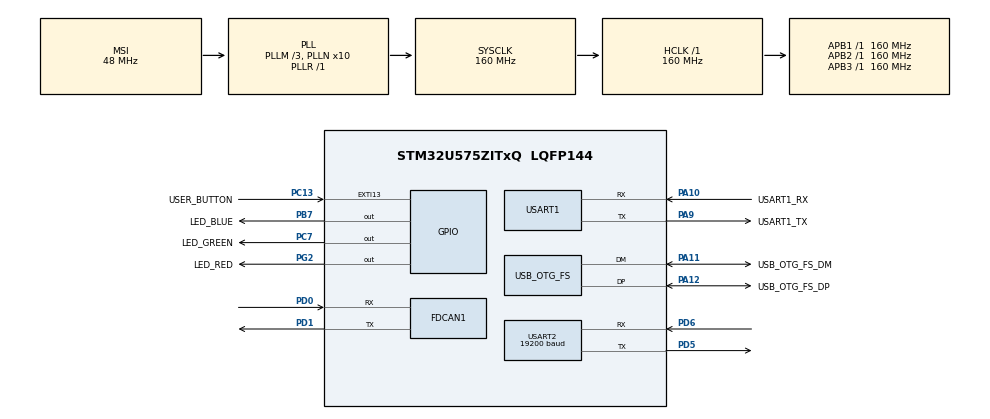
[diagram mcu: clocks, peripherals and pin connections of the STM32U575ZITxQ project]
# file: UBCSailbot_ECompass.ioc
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CORTEX_M33_NS.userName=CORTEX_M33
FDCAN1.AutoRetransmission=ENABLE
FDCAN1.CalculateBaudRateNominal=500000
FDCAN1.CalculateTimeBitNominal=2000
FDCAN1.CalculateTimeQuantumNominal=100.0
FDCAN1.DataSyncJumpWidth=16
FDCAN1.DataTimeSeg1=23
FDCAN1.DataTimeSeg2=16
FDCAN1.ExtFiltersNbr=1
FDCAN1.FrameFormat=FDCAN_FRAME_FD_BRS
FDCAN1.NominalPrescaler=4
FDCAN1.NominalSyncJumpWidth=3
FDCAN1.NominalTimeSeg1=16
FDCAN1.NominalTimeSeg2=3
FDCAN1.StdFiltersNbr=1
GPDMA1.DESTINC_GPDMACH15=DMA_DINC_INCREMENTED
GPDMA1.IPHANDLE_GPDMACH15-SIMPLEREQUEST_GPDMACH15=__NULL
GPDMA1.RECAP_GPDMACH15=GPDMA1_REQUEST_USART2_RX
GPDMA1.REQUEST_GPDMACH15=GPDMA1_REQUEST_USART2_RX
Mcu.Family=STM32U5
Mcu.Name=STM32U575ZITxQ
Mcu.Package=LQFP144
NVIC.FDCAN1_IT0_IRQn=true\:0\:0\:false\:false\:true\:true\:true\:true
NVIC.GPDMA1_Channel15_IRQn=true\:0\:0\:false\:false\:true\:false\:true\:true
NVIC.PriorityGroup=NVIC_PRIORITYGROUP_3
NVIC.TIM17_IRQn=true\:7\:0\:false\:false\:true\:false\:true\:true
NVIC.TimeBase=TIM17_IRQn
NVIC.TimeBaseIP=TIM17
NVIC.USART2_IRQn=true\:0\:0\:false\:false\:true\:true\:true\:true
PA10.GPIO_Label=USART1_RX
PA10.GPIO_PuPd=GPIO_PULLDOWN
PA10.GPIO_Speed=GPIO_SPEED_FREQ_VERY_HIGH
PA10.Mode=Asynchronous
PA10.Signal=USART1_RX
PA11.GPIO_Label=USB_OTG_FS_DM
PA11.GPIO_Speed=GPIO_SPEED_FREQ_VERY_HIGH
PA11.Mode=Device_Only
PA11.Signal=USB_OTG_FS_DM
PA12.GPIO_Label=USB_OTG_FS_DP
PA12.GPIO_Speed=GPIO_SPEED_FREQ_VERY_HIGH
PA12.Mode=Device_Only
PA12.Signal=USB_OTG_FS_DP
PA13\ (JTMS/SWDIO).Signal=DEBUG_JTMS-SWDIO
PA14\ (JTCK/SWCLK).Signal=DEBUG_JTCK-SWCLK
PA9.GPIO_Label=USART1_TX
PA9.GPIO_PuPd=GPIO_PULLDOWN
PA9.GPIO_Speed=GPIO_SPEED_FREQ_VERY_HIGH
PA9.Mode=Asynchronous
PA9.Signal=USART1_TX
PB3\ (JTDO/TRACESWO).Signal=DEBUG_JTDO-SWO
PB7.GPIO_Label=LED_BLUE
PB7.Signal=GPIO_Output
PC13.GPIO_Label=USER_BUTTON
PC13.Signal=GPXTI13
PC14-OSC32_IN\ (PC14).Signal=RCC_OSC32_IN
PC15-OSC32_OUT\ (PC15).Signal=RCC_OSC32_OUT
PC7.GPIO_Label=LED_GREEN
PC7.Signal=GPIO_Output
PD0.Mode=FDCAN_Activate
PD0.Signal=FDCAN1_RX
PD1.Mode=FDCAN_Activate
PD1.Signal=FDCAN1_TX
PD5.Mode=Asynchronous
PD5.Signal=USART2_TX
PD6.Mode=Asynchronous
PD6.Signal=USART2_RX
PG2.GPIO_Label=LED_RED
PG2.Signal=GPIO_Output
PWR.PowerMode=PWR_SMPS_SUPPLY
ProjectManager.HeapSize=0x200
ProjectManager.StackSize=0x400
ProjectManager.TargetToolchain=STM32CubeIDE
RCC.ADCFreq_Value=16000000
RCC.AHBFreq_Value=160000000
RCC.APB1Freq_Value=160000000
RCC.APB1TimFreq_Value=160000000
RCC.APB2Freq_Value=160000000
RCC.APB2TimFreq_Value=160000000
RCC.APB3Freq_Value=160000000
RCC.CortexFreq_Value=160000000
RCC.DACCLockSelectionVirtual=RCC_DAC1CLKSOURCE_LSI
RCC.EPOD_VALUE=48000000
RCC.HCLKFreq_Value=160000000
RCC.HSE_VALUE=16000000
RCC.HSI48_VALUE=48000000
RCC.HSI_VALUE=16000000
RCC.LSE_VALUE=32768
RCC.LSIDIV_VALUE=32000
RCC.MSIClockRange=RCC_MSIRANGE_0
RCC.MSI_VALUE=48000000
RCC.PLL1Q=4
RCC.PLL1R=1
RCC.PLLFRACN=0
RCC.PLLM=3
RCC.PLLN=10
RCC.SYSCLKFreq_VALUE=160000000
RCC.SYSCLKSource=RCC_SYSCLKSOURCE_PLLCLK
RCC.USBFreq_Value=48000000
RCC.VCOOutputFreq_Value=160000000
USART1.VirtualMode-Asynchronous=VM_ASYNC
USART2.BaudRate=19200
USART2.VirtualMode-Asynchronous=VM_ASYNC
USB_OTG_FS.VirtualMode=Device_Only
VP_GPDMA1_VS_GPDMACH15.Mode=SIMPLEREQUEST_GPDMACH15
VP_ICACHE_VS_ENABLE_ICACHE_MEMORY.Mode=Memoryregions
VP_ICACHE_VS_ICACHE.Mode=DirectMappedCache
VP_LPBAMQUEUE_VS_QUEUE.Mode=QUEUEMODE
VP_LPBAM_VS_SIG1.Mode=SmartRun
VP_LPBAM_VS_SIG4.Mode=LPDMA1
VP_MEMORYMAP_VS_MEMORYMAP.Mode=CurAppReg
VP_PWR_VS_DBSignals.Mode=DisableDeadBatterySignals
VP_PWR_VS_LPOM.Mode=PowerOptimisation
VP_PWR_VS_SECSignals.Mode=Security/Privilege
VP_SYS_VS_tim17.Mode=TIM17
board=NUCLEO-U575ZI-Q

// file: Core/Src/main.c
/* USER CODE BEGIN Header */
/**
  ******************************************************************************
  * @file           : main.c
  * @brief          : Main program body
  ******************************************************************************
  * @attention
  *
  * Copyright (c) 2025 STMicroelectronics.
  * All rights reserved.
  *
  * This software is licensed under terms that can be found in the LICENSE file
  * in the root directory of this software component.
  * If no LICENSE file comes with this software, it is provided AS-IS.
  *
  ******************************************************************************
  */
/* USER CODE END Header */
#include "main.h"

/* USER CODE BEGIN Includes */
#include <string.h>
#include <stdint.h>
#include <stdio.h>
#include <stdlib.h>
#include <can.h>
/* USER CODE END Includes */

FDCAN_HandleTypeDef hfdcan1;

UART_HandleTypeDef huart1;
UART_HandleTypeDef huart2;
DMA_HandleTypeDef handle_GPDMA1_Channel15;

PCD_HandleTypeDef hpcd_USB_OTG_FS;

void SystemClock_Config(void);
static void SystemPower_Config(void);
static void MX_GPIO_Init(void);
static void MX_GPDMA1_Init(void);
static void MX_ICACHE_Init(void);
static void MX_USART2_UART_Init(void);
static void MX_USB_OTG_FS_PCD_Init(void);
static void MX_USART1_UART_Init(void);
static void MX_FDCAN1_Init(void);
/* USER CODE BEGIN PFP */
#ifdef __GNUC__
/* With GCC/RAISONANCE, small printf (option LD Linker->Libraries->Small printf
   set to 'Yes') calls __io_putchar() */
#define PUTCHAR_PROTOTYPE int __io_putchar(int ch)
#else
#define PUTCHAR_PROTOTYPE int fputc(int ch, FILE *f)
#endif /* __GNUC__ */
/* USER CODE END PFP */

/* USER CODE BEGIN 0 */
NMEA0183 *ecompass;
const char PASHR_ENABLE_CMD[] = "$JASC,PASHR,10\x0D\x0A"; //enables PASHR sentence type
const char GPHDT_FREQ[] = "$JASC,GPHDT,1\x0D\x0A"; //allows heading data received at 10Hz
/* USER CODE END 0 */

int main(void)
{

  /* MCU Configuration--------------------------------------------------------*/

  /* Reset of all peripherals, Initializes the Flash interface and the Systick. */
  HAL_Init();

  /* Configure the System Power */
  SystemPower_Config();

  /* Configure the system clock */
  SystemClock_Config();

  /* Initialize all configured peripherals */
  MX_GPIO_Init();
  MX_GPDMA1_Init();
  MX_ICACHE_Init();
  MX_USART2_UART_Init();
  MX_USB_OTG_FS_PCD_Init();
  MX_USART1_UART_Init();
  MX_FDCAN1_Init();
  /* USER CODE BEGIN 2 */

  ecompass = NMEA0183__create(&huart2);

  //signal sent to initialize PASHR sentence type
  if(HAL_UART_Transmit(&huart2, (uint8_t *)PASHR_ENABLE_CMD, 15, HAL_MAX_DELAY) != HAL_OK){
	  printf("PASHR enable error \x0D\x0A");
  }

  //signal sent to set the transmission frequency for GPHDT sentence type
  if(HAL_UART_Transmit(&huart2, (uint8_t*)GPHDT_FREQ, 16, HAL_MAX_DELAY) != HAL_OK){
	  printf("GPHDT frequency set error \x0D\x0A");
  }

  //initializations for CAN
  CAN_Init(&hfdcan1);
  CAN_SetRxBufferSize(64, 64);
  /* USER CODE END 2 */

  /* Infinite loop */
  while (1)
  {

    /* USER CODE BEGIN 3 */

	  while (NMEA0183__itemsInBuffer(ecompass) > 0) {
		  NMEA0183Raw *data = NMEA0183__getTopBufferItem(ecompass);
		  data->scentenceData[data->scentenceLength] = '\0';
		  //testing
		  printf("Message: %s", data->scentenceData);

		  printf("Data integrity test: %d\x0D\x0A", NMEA0183__checkMessage(data));
//		  printf("Message type: %s\x0D\x0A", NMEA0183__getField(data, 0));

		  if(NMEA0183__getScentenceType(data) == MESSAGE_SHR){
			  int8_t *heading_data = NMEA0183__getField(data, 2);
			  int8_t *roll_data = NMEA0183__getField(data, 4);
			  int8_t *pitch_data = NMEA0183__getField(data, 5);

			  uint32_t heading = (atof(heading_data)+180)*1000; //32 bits
			  uint32_t pitch = (atof(pitch_data)+180)*1000; //32 bits
			  uint32_t roll = (atof(roll_data)+180)*1000; //32 bits

			  printf("Euler Data: %u, %u, %u \x0D\x0A", heading, roll, pitch);

			  uint32_t euler[] = {heading, pitch, roll};
			  //Transmission message from receiver board to main board
//			  if (CAN_Transmit(0x123, FDCAN_STANDARD_ID, FDCAN_DLC_BYTES_12, (uint8_t *) euler, &hfdcan1) != HAL_OK) {
//				  Error_Handler();
//			  }

		  }
		  else if(NMEA0183__getScentenceType(data) == MESSAGE_HDT){
			  int8_t *heading_data = NMEA0183__getField(data, 1);

			  uint32_t heading = (atof(heading_data)+180)*1000;
			  printf("Heading Data: %u \x0D\x0A", heading);

			  uint32_t euler[] = {heading};
			  //Transmission message from receiver board to main board
//			  if (CAN_Transmit(0x123, FDCAN_STANDARD_ID, FDCAN_DLC_BYTES_4, (uint8_t *) euler, &hfdcan1) != HAL_OK) {
//				  Error_Handler();
//			  }
		  }

		  printf("\x0D\x0A");

		  NMEA0183__incrementReadIndex(ecompass);
	  }
	  HAL_Delay(50);
  }
  /* USER CODE END 3 */
}

void SystemClock_Config(void)
{
  RCC_OscInitTypeDef RCC_OscInitStruct = {0};
  RCC_ClkInitTypeDef RCC_ClkInitStruct = {0};

  /** Configure the main internal regulator output voltage
  */
  if (HAL_PWREx_ControlVoltageScaling(PWR_REGULATOR_VOLTAGE_SCALE1) != HAL_OK)
  {
    Error_Handler();
  }

  /** Initializes the CPU, AHB and APB buses clocks
  */
  RCC_OscInitStruct.OscillatorType = RCC_OSCILLATORTYPE_HSI48|RCC_OSCILLATORTYPE_MSI;
  RCC_OscInitStruct.HSI48State = RCC_HSI48_ON;
  RCC_OscInitStruct.MSIState = RCC_MSI_ON;
  RCC_OscInitStruct.MSICalibrationValue = RCC_MSICALIBRATION_DEFAULT;
  RCC_OscInitStruct.MSIClockRange = RCC_MSIRANGE_0;
  RCC_OscInitStruct.PLL.PLLState = RCC_PLL_ON;
  RCC_OscInitStruct.PLL.PLLSource = RCC_PLLSOURCE_MSI;
  RCC_OscInitStruct.PLL.PLLMBOOST = RCC_PLLMBOOST_DIV4;
  RCC_OscInitStruct.PLL.PLLM = 3;
  RCC_OscInitStruct.PLL.PLLN = 10;
  RCC_OscInitStruct.PLL.PLLP = 2;
  RCC_OscInitStruct.PLL.PLLQ = 4;
  RCC_OscInitStruct.PLL.PLLR = 1;
  RCC_OscInitStruct.PLL.PLLRGE = RCC_PLLVCIRANGE_1;
  RCC_OscInitStruct.PLL.PLLFRACN = 0;
  if (HAL_RCC_OscConfig(&RCC_OscInitStruct) != HAL_OK)
  {
    Error_Handler();
  }

  /** Initializes the CPU, AHB and APB buses clocks
  */
  RCC_ClkInitStruct.ClockType = RCC_CLOCKTYPE_HCLK|RCC_CLOCKTYPE_SYSCLK
                              |RCC_CLOCKTYPE_PCLK1|RCC_CLOCKTYPE_PCLK2
                              |RCC_CLOCKTYPE_PCLK3;
  RCC_ClkInitStruct.SYSCLKSource = RCC_SYSCLKSOURCE_PLLCLK;
  RCC_ClkInitStruct.AHBCLKDivider = RCC_SYSCLK_DIV1;
  RCC_ClkInitStruct.APB1CLKDivider = RCC_HCLK_DIV1;
  RCC_ClkInitStruct.APB2CLKDivider = RCC_HCLK_DIV1;
  RCC_ClkInitStruct.APB3CLKDivider = RCC_HCLK_DIV1;

  if (HAL_RCC_ClockConfig(&RCC_ClkInitStruct, FLASH_LATENCY_4) != HAL_OK)
  {
    Error_Handler();
  }
}

/**
  * @brief Power Configuration
  * @retval None
  */
static void SystemPower_Config(void)
{
  HAL_PWREx_EnableVddIO2();

  /*
   * Disable the internal Pull-Up in Dead Battery pins of UCPD peripheral
   */
  HAL_PWREx_DisableUCPDDeadBattery();

  /*
   * Switch to SMPS regulator instead of LDO
   */
  if (HAL_PWREx_ConfigSupply(PWR_SMPS_SUPPLY) != HAL_OK)
  {
    Error_Handler();
  }
}

static void MX_FDCAN1_Init(void)
{

  hfdcan1.Instance = FDCAN1;
  hfdcan1.Init.ClockDivider = FDCAN_CLOCK_DIV1;
  hfdcan1.Init.FrameFormat = FDCAN_FRAME_FD_BRS;
  hfdcan1.Init.Mode = FDCAN_MODE_NORMAL;
  hfdcan1.Init.AutoRetransmission = ENABLE;
  hfdcan1.Init.TransmitPause = DISABLE;
  hfdcan1.Init.ProtocolException = DISABLE;
  hfdcan1.Init.NominalPrescaler = 4;
  hfdcan1.Init.NominalSyncJumpWidth = 3;
  hfdcan1.Init.NominalTimeSeg1 = 16;
  hfdcan1.Init.NominalTimeSeg2 = 3;
  hfdcan1.Init.DataPrescaler = 1;
  hfdcan1.Init.DataSyncJumpWidth = 16;
  hfdcan1.Init.DataTimeSeg1 = 23;
  hfdcan1.Init.DataTimeSeg2 = 16;
  hfdcan1.Init.StdFiltersNbr = 1;
  hfdcan1.Init.ExtFiltersNbr = 1;
  hfdcan1.Init.TxFifoQueueMode = FDCAN_TX_FIFO_OPERATION;
  if (HAL_FDCAN_Init(&hfdcan1) != HAL_OK)
  {
    Error_Handler();
  }

}

static void MX_GPDMA1_Init(void)
{

  /* Peripheral clock enable */
  __HAL_RCC_GPDMA1_CLK_ENABLE();

  /* GPDMA1 interrupt Init */
    HAL_NVIC_SetPriority(GPDMA1_Channel15_IRQn, 0, 0);
    HAL_NVIC_EnableIRQ(GPDMA1_Channel15_IRQn);

}

static void MX_ICACHE_Init(void)
{

  /** Enable instruction cache in 1-way (direct mapped cache)
  */
  if (HAL_ICACHE_ConfigAssociativityMode(ICACHE_1WAY) != HAL_OK)
  {
    Error_Handler();
  }
  if (HAL_ICACHE_Enable() != HAL_OK)
  {
    Error_Handler();
  }

}

static void MX_USART1_UART_Init(void)
{

  huart1.Instance = USART1;
  huart1.Init.BaudRate = 115200;
  huart1.Init.WordLength = UART_WORDLENGTH_8B;
  huart1.Init.StopBits = UART_STOPBITS_1;
  huart1.Init.Parity = UART_PARITY_NONE;
  huart1.Init.Mode = UART_MODE_TX_RX;
  huart1.Init.HwFlowCtl = UART_HWCONTROL_NONE;
  huart1.Init.OverSampling = UART_OVERSAMPLING_16;
  huart1.Init.OneBitSampling = UART_ONE_BIT_SAMPLE_DISABLE;
  huart1.Init.ClockPrescaler = UART_PRESCALER_DIV1;
  huart1.AdvancedInit.AdvFeatureInit = UART_ADVFEATURE_NO_INIT;
  if (HAL_UART_Init(&huart1) != HAL_OK)
  {
    Error_Handler();
  }
  if (HAL_UARTEx_SetTxFifoThreshold(&huart1, UART_TXFIFO_THRESHOLD_1_8) != HAL_OK)
  {
    Error_Handler();
  }
  if (HAL_UARTEx_SetRxFifoThreshold(&huart1, UART_RXFIFO_THRESHOLD_1_8) != HAL_OK)
  {
    Error_Handler();
  }
  if (HAL_UARTEx_DisableFifoMode(&huart1) != HAL_OK)
  {
    Error_Handler();
  }

}

static void MX_USART2_UART_Init(void)
{

  huart2.Instance = USART2;
  huart2.Init.BaudRate = 19200;
  huart2.Init.WordLength = UART_WORDLENGTH_8B;
  huart2.Init.StopBits = UART_STOPBITS_1;
  huart2.Init.Parity = UART_PARITY_NONE;
  huart2.Init.Mode = UART_MODE_TX_RX;
  huart2.Init.HwFlowCtl = UART_HWCONTROL_NONE;
  huart2.Init.OverSampling = UART_OVERSAMPLING_16;
  huart2.Init.OneBitSampling = UART_ONE_BIT_SAMPLE_DISABLE;
  huart2.Init.ClockPrescaler = UART_PRESCALER_DIV1;
  huart2.AdvancedInit.AdvFeatureInit = UART_ADVFEATURE_NO_INIT;
  if (HAL_UART_Init(&huart2) != HAL_OK)
  {
    Error_Handler();
  }
  if (HAL_UARTEx_SetTxFifoThreshold(&huart2, UART_TXFIFO_THRESHOLD_1_8) != HAL_OK)
  {
    Error_Handler();
  }
  if (HAL_UARTEx_SetRxFifoThreshold(&huart2, UART_RXFIFO_THRESHOLD_1_8) != HAL_OK)
  {
    Error_Handler();
  }
  if (HAL_UARTEx_DisableFifoMode(&huart2) != HAL_OK)
  {
    Error_Handler();
  }

}

static void MX_USB_OTG_FS_PCD_Init(void)
{

  hpcd_USB_OTG_FS.Instance = USB_OTG_FS;
  hpcd_USB_OTG_FS.Init.dev_endpoints = 6;
  hpcd_USB_OTG_FS.Init.speed = PCD_SPEED_FULL;
  hpcd_USB_OTG_FS.Init.phy_itface = PCD_PHY_EMBEDDED;
  hpcd_USB_OTG_FS.Init.Sof_enable = DISABLE;
  hpcd_USB_OTG_FS.Init.low_power_enable = DISABLE;
  hpcd_USB_OTG_FS.Init.lpm_enable = DISABLE;
  hpcd_USB_OTG_FS.Init.battery_charging_enable = DISABLE;
  hpcd_USB_OTG_FS.Init.use_dedicated_ep1 = DISABLE;
  hpcd_USB_OTG_FS.Init.vbus_sensing_enable = DISABLE;
  hpcd_USB_OTG_FS.Init.dma_enable = DISABLE;
  if (HAL_PCD_Init(&hpcd_USB_OTG_FS) != HAL_OK)
  {
    Error_Handler();
  }

}

static void MX_GPIO_Init(void)
{
  GPIO_InitTypeDef GPIO_InitStruct = {0};

  /* GPIO Ports Clock Enable */
  __HAL_RCC_GPIOC_CLK_ENABLE();
  __HAL_RCC_GPIOG_CLK_ENABLE();
  __HAL_RCC_GPIOA_CLK_ENABLE();
  __HAL_RCC_GPIOD_CLK_ENABLE();
  __HAL_RCC_GPIOB_CLK_ENABLE();

  /*Configure GPIO pin Output Level */
  HAL_GPIO_WritePin(LED_RED_GPIO_Port, LED_RED_Pin, GPIO_PIN_RESET);

  /*Configure GPIO pin Output Level */
  HAL_GPIO_WritePin(LED_GREEN_GPIO_Port, LED_GREEN_Pin, GPIO_PIN_RESET);

  /*Configure GPIO pin Output Level */
  HAL_GPIO_WritePin(LED_BLUE_GPIO_Port, LED_BLUE_Pin, GPIO_PIN_RESET);

  /*Configure GPIO pin : USER_BUTTON_Pin */
  GPIO_InitStruct.Pin = USER_BUTTON_Pin;
  GPIO_InitStruct.Mode = GPIO_MODE_IT_RISING;
  GPIO_InitStruct.Pull = GPIO_NOPULL;
  HAL_GPIO_Init(USER_BUTTON_GPIO_Port, &GPIO_InitStruct);

  /*Configure GPIO pin : LED_RED_Pin */
  GPIO_InitStruct.Pin = LED_RED_Pin;
  GPIO_InitStruct.Mode = GPIO_MODE_OUTPUT_PP;
  GPIO_InitStruct.Pull = GPIO_NOPULL;
  GPIO_InitStruct.Speed = GPIO_SPEED_FREQ_LOW;
  HAL_GPIO_Init(LED_RED_GPIO_Port, &GPIO_InitStruct);

  /*Configure GPIO pin : LED_GREEN_Pin */
  GPIO_InitStruct.Pin = LED_GREEN_Pin;
  GPIO_InitStruct.Mode = GPIO_MODE_OUTPUT_PP;
  GPIO_InitStruct.Pull = GPIO_NOPULL;
  GPIO_InitStruct.Speed = GPIO_SPEED_FREQ_LOW;
  HAL_GPIO_Init(LED_GREEN_GPIO_Port, &GPIO_InitStruct);

  /*Configure GPIO pin : LED_BLUE_Pin */
  GPIO_InitStruct.Pin = LED_BLUE_Pin;
  GPIO_InitStruct.Mode = GPIO_MODE_OUTPUT_PP;
  GPIO_InitStruct.Pull = GPIO_NOPULL;
  GPIO_InitStruct.Speed = GPIO_SPEED_FREQ_LOW;
  HAL_GPIO_Init(LED_BLUE_GPIO_Port, &GPIO_InitStruct);

}

/* USER CODE BEGIN 4 */
PUTCHAR_PROTOTYPE
{
  /* Place your implementation of fputc here */
  /* e.g. write a character to the USART1 and Loop until the end of transmission */
  HAL_UART_Transmit(&huart1, (uint8_t *)&ch, 1, 0xFFFF);

  return ch;
}
/* USER CODE END 4 */

void HAL_TIM_PeriodElapsedCallback(TIM_HandleTypeDef *htim)
{
  if (htim->Instance == TIM17)
  {
    HAL_IncTick();
  }
}

void Error_Handler(void)
{
  __disable_irq();
  while (1)
  {
  }
}
